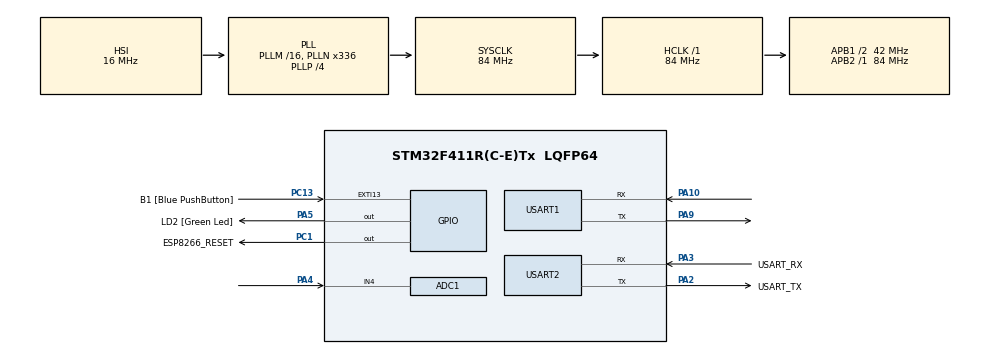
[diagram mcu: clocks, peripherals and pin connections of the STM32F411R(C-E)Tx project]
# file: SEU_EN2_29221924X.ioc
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ADC1.Channel-0\#ChannelRegularConversion=ADC_CHANNEL_4
ADC1.NbrOfConversionFlag=1
ADC1.Rank-0\#ChannelRegularConversion=1
ADC1.SamplingTime-0\#ChannelRegularConversion=ADC_SAMPLETIME_3CYCLES
ADC1.master=1
Dma.Request0=USART1_RX
Dma.Request1=USART1_TX
Dma.USART1_RX.0.Direction=DMA_PERIPH_TO_MEMORY
Dma.USART1_RX.0.FIFOMode=DMA_FIFOMODE_DISABLE
Dma.USART1_RX.0.Instance=DMA2_Stream2
Dma.USART1_RX.0.MemDataAlignment=DMA_MDATAALIGN_BYTE
Dma.USART1_RX.0.MemInc=DMA_MINC_ENABLE
Dma.USART1_RX.0.Mode=DMA_NORMAL
Dma.USART1_RX.0.PeriphDataAlignment=DMA_PDATAALIGN_BYTE
Dma.USART1_RX.0.PeriphInc=DMA_PINC_DISABLE
Dma.USART1_RX.0.Priority=DMA_PRIORITY_LOW
Dma.USART1_TX.1.Direction=DMA_MEMORY_TO_PERIPH
Dma.USART1_TX.1.FIFOMode=DMA_FIFOMODE_DISABLE
Dma.USART1_TX.1.Instance=DMA2_Stream7
Dma.USART1_TX.1.MemDataAlignment=DMA_MDATAALIGN_BYTE
Dma.USART1_TX.1.MemInc=DMA_MINC_ENABLE
Dma.USART1_TX.1.Mode=DMA_NORMAL
Dma.USART1_TX.1.PeriphDataAlignment=DMA_PDATAALIGN_BYTE
Dma.USART1_TX.1.PeriphInc=DMA_PINC_DISABLE
Dma.USART1_TX.1.Priority=DMA_PRIORITY_LOW
FREERTOS.Tasks01=defaultTask,0,128,StartDefaultTask,Default,NULL,Dynamic,NULL,NULL
FREERTOS.configTOTAL_HEAP_SIZE=80000
Mcu.Family=STM32F4
Mcu.Name=STM32F411R(C-E)Tx
Mcu.Package=LQFP64
NVIC.DMA2_Stream2_IRQn=true\:5\:0\:false\:false\:true\:true\:false\:true\:true
NVIC.DMA2_Stream7_IRQn=true\:5\:0\:false\:false\:true\:true\:false\:true\:true
NVIC.PriorityGroup=NVIC_PRIORITYGROUP_4
PA10.Mode=Asynchronous
PA10.Signal=USART1_RX
PA13.GPIO_Label=TMS
PA13.Mode=Serial_Wire
PA13.Signal=SYS_JTMS-SWDIO
PA14.GPIO_Label=TCK
PA14.Mode=Serial_Wire
PA14.Signal=SYS_JTCK-SWCLK
PA2.GPIO_Label=USART_TX
PA2.Mode=Asynchronous
PA2.Signal=USART2_TX
PA3.GPIO_Label=USART_RX
PA3.Mode=Asynchronous
PA3.Signal=USART2_RX
PA4.Signal=ADCx_IN4
PA5.GPIO_Label=LD2 [Green Led]
PA5.Signal=GPIO_Output
PA9.Mode=Asynchronous
PA9.Signal=USART1_TX
PB3.GPIO_Label=SWO
PB3.Signal=SYS_JTDO-SWO
PC1.GPIO_Label=ESP8266_RESET
PC1.Signal=GPIO_Output
PC13-ANTI_TAMP.GPIO_Label=B1 [Blue PushButton]
PC13-ANTI_TAMP.GPIO_ModeDefaultEXTI=GPIO_MODE_IT_FALLING
PC13-ANTI_TAMP.Signal=GPXTI13
PC14-OSC32_IN.Mode=LSE-External-Oscillator
PC14-OSC32_IN.Signal=RCC_OSC32_IN
PC15-OSC32_OUT.Mode=LSE-External-Oscillator
PC15-OSC32_OUT.Signal=RCC_OSC32_OUT
PH0\ -\ OSC_IN.Mode=HSE-External-Clock-Source
PH0\ -\ OSC_IN.Signal=RCC_OSC_IN
PH1\ -\ OSC_OUT.Mode=HSE-External-Clock-Source
PH1\ -\ OSC_OUT.Signal=RCC_OSC_OUT
ProjectManager.HeapSize=0x200
ProjectManager.StackSize=0x400
ProjectManager.TargetToolchain=STM32CubeIDE
RCC.48MHZClocksFreq_Value=84000000
RCC.AHBFreq_Value=84000000
RCC.APB1CLKDivider=RCC_HCLK_DIV2
RCC.APB1Freq_Value=42000000
RCC.APB1TimFreq_Value=84000000
RCC.APB2Freq_Value=84000000
RCC.APB2TimFreq_Value=84000000
RCC.CortexFreq_Value=84000000
RCC.FLatency-AdvancedSettings=FLASH_LATENCY_2
RCC.HCLKFreq_Value=84000000
RCC.HSE_VALUE=8000000
RCC.HSI_VALUE=16000000
RCC.PLLN=336
RCC.PLLP=RCC_PLLP_DIV4
RCC.SYSCLKFreq_VALUE=84000000
RCC.SYSCLKSource=RCC_SYSCLKSOURCE_PLLCLK
RCC.VCOOutputFreq_Value=336000000
SH.ADCx_IN4.0=ADC1_IN4,IN4
USART1.VirtualMode=VM_ASYNC
USART2.VirtualMode=VM_ASYNC
VP_FREERTOS_VS_CMSIS_V1.Mode=CMSIS_V1
board=NUCLEO-F411RE

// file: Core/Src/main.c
/* USER CODE BEGIN Header */
/**
  ******************************************************************************
  * @file           : main.c
  * @brief          : Main program body — Entregable 1
  *                   Paso actual: lectura del potenciómetro por ADC
  ******************************************************************************
  */
/* USER CODE END Header */
#include "main.h"
#include "cmsis_os.h"

/* USER CODE BEGIN Includes */
#include <stdio.h>
#include <math.h>
#include <tareas.h>
/* USER CODE END Includes */

ADC_HandleTypeDef hadc1;

UART_HandleTypeDef huart1;
UART_HandleTypeDef huart2;
DMA_HandleTypeDef hdma_usart1_rx;
DMA_HandleTypeDef hdma_usart1_tx;

osThreadId defaultTaskHandle;
/* USER CODE BEGIN PV */
uint8_t g_sensor_sel = 0;   /* 0 = LDR, 1 = NTC */
uint8_t g_flash_state = 0;  /* estado actual del LED parpadeante (0/1) */
uint32_t g_last_flash_tick = 0;  /* último instante en que cambió el parpadeo */

/* Alarma */
uint8_t  g_alarm_active   = 0;  /* 1 = buzzer sonando           */
uint8_t  g_alarm_disarmed = 0;  /* 1 = silenciada, esperando    */
uint32_t g_disarm_tick    = 0;  /* instante en que se silenció  */
/* USER CODE END PV */

void SystemClock_Config(void);
static void MX_GPIO_Init(void);
static void MX_DMA_Init(void);
static void MX_USART2_UART_Init(void);
static void MX_ADC1_Init(void);
static void MX_USART1_UART_Init(void);
void StartDefaultTask(void const * argument);

/* USER CODE BEGIN 0 */

/**
 * @brief  Redirige printf() a UART2 (serial monitor a 115200 baudios).
 */
int _write(int file, char *ptr, int len)
{
    HAL_UART_Transmit(&huart2, (uint8_t*)ptr, len, HAL_MAX_DELAY);
    return len;
}

/**
 * @brief  Lee el potenciómetro.
 * @return Valor bruto ADC: 0 (GND) a 4095 (3.3V).
 */
uint32_t POT_read(void)
{
    ADC_ChannelConfTypeDef sConfig = {0};
    sConfig.Channel      = ADC_CHANNEL_4;
    sConfig.Rank         = 1;
    sConfig.SamplingTime = ADC_SAMPLETIME_84CYCLES; /* estable con impedancia 10kΩ */

    HAL_ADC_ConfigChannel(&hadc1, &sConfig);
    HAL_ADC_Start(&hadc1);
    HAL_ADC_PollForConversion(&hadc1, 1000);        /* esperar fin de conversión */
    uint32_t val = HAL_ADC_GetValue(&hadc1);
    HAL_ADC_Stop(&hadc1);
    return val;
}

/**
 * @brief  Lee la LDR (PA0 - ADC1_IN0).
 * @return Intensidad lumínica 0-1000 (representa 0.0% a 100.0%).
 *         Calibrar LDR_MIN y LDR_MAX con tu sensor real.
 */
uint32_t LDR_read(void) //Sensor Luz
{
    ADC_ChannelConfTypeDef sConfig = {0};
    sConfig.Channel      = ADC_CHANNEL_0;
    sConfig.Rank         = 1;
    sConfig.SamplingTime = ADC_SAMPLETIME_84CYCLES;
    HAL_ADC_ConfigChannel(&hadc1, &sConfig);
    HAL_ADC_Start(&hadc1);
    HAL_ADC_PollForConversion(&hadc1, 1000);
    uint32_t raw = HAL_ADC_GetValue(&hadc1);
    HAL_ADC_Stop(&hadc1);

    const uint32_t LDR_MIN = 100;
    const uint32_t LDR_MAX = 3900;

    if (raw < LDR_MIN) raw = LDR_MIN;
    if (raw > LDR_MAX) raw = LDR_MAX;

    return ((raw - LDR_MIN) * 1000) / (LDR_MAX - LDR_MIN);  /* 0-1000 */
}

/**
 * @brief  Lee  NTC (PA1 - ADC1_IN1) devuelve temperatura x10. (253 -> 25.3 °C)
 *
 * Fórmula:
 *   R_NTC = -10000 * 3.3 / (raw * 3.3 / 4095 - 3.3) - 10000
 *   T(K)  = 3900 / (ln(R_NTC / 10000) + 3900 / 298.15)
 *   T(°C) = T(K) - 273.15
 */
int32_t NTC_read_x10(void) //Sensor Temperatura
{
    ADC_ChannelConfTypeDef sConfig = {0};
    sConfig.Channel      = ADC_CHANNEL_1;
    sConfig.Rank         = 1;
    sConfig.SamplingTime = ADC_SAMPLETIME_84CYCLES;
    HAL_ADC_ConfigChannel(&hadc1, &sConfig);
    HAL_ADC_Start(&hadc1);
    HAL_ADC_PollForConversion(&hadc1, 1000);
    uint32_t raw = HAL_ADC_GetValue(&hadc1);
    HAL_ADC_Stop(&hadc1);

    /* Protección valores extremos */
    if (raw == 0 || raw >= 4095) return -9999;

    /* Calcular Resistencia NTC*/
    float v    = (float)raw * 3.3f / 4095.0f;
    float rntc = -10000.0f * 3.3f / (v - 3.3f) - 10000.0f;

    if (rntc <= 0.0f) return -9999;

    /* Ecuación Beta */
    float tempK = 3900.0f / (logf(rntc / 10000.0f) + 3900.0f / 298.15f);
    float tempC = tempK - 273.15f;

    return (int32_t)(tempC * 10.0f);  /* x10 para evitar printf float */
}

/**
 * @brief  Escribe un patrón de 8 bits en los LEDs.
 *         bit0 = LED1 (PB4) ... bit7 = LED8 (PA5)
 */
void LED_setAll(uint8_t pattern)
{
    /* GPIOB: LED1(PB4) LED2(PB10) LED4(PB5) LED5(PB3) LED7(PB0) */
    HAL_GPIO_WritePin(GPIOB, GPIO_PIN_4,  (pattern >> 0) & 1 ? GPIO_PIN_SET : GPIO_PIN_RESET);
    HAL_GPIO_WritePin(GPIOB, GPIO_PIN_10, (pattern >> 1) & 1 ? GPIO_PIN_SET : GPIO_PIN_RESET);
    HAL_GPIO_WritePin(GPIOA, GPIO_PIN_8,  (pattern >> 2) & 1 ? GPIO_PIN_SET : GPIO_PIN_RESET);
    HAL_GPIO_WritePin(GPIOB, GPIO_PIN_5,  (pattern >> 3) & 1 ? GPIO_PIN_SET : GPIO_PIN_RESET);
    HAL_GPIO_WritePin(GPIOB, GPIO_PIN_3,  (pattern >> 4) & 1 ? GPIO_PIN_SET : GPIO_PIN_RESET);
    HAL_GPIO_WritePin(GPIOA, GPIO_PIN_6,  (pattern >> 5) & 1 ? GPIO_PIN_SET : GPIO_PIN_RESET);
    HAL_GPIO_WritePin(GPIOB, GPIO_PIN_0,  (pattern >> 6) & 1 ? GPIO_PIN_SET : GPIO_PIN_RESET);
    HAL_GPIO_WritePin(GPIOA, GPIO_PIN_5,  (pattern >> 7) & 1 ? GPIO_PIN_SET : GPIO_PIN_RESET);
}

/**
 * @brief  Bargraph 8 LEDs según valor (bits activos).
 * @param  pct_x10  Valor 0-1000
 *
 *   0   ->  00000000  (todos apagados)
 *   125 ->  00000001  (1 LED)
 *   500 ->  00001111  (4 LEDs)
 *   1000->  11111111  (todos encendidos)
 */
void LED_bargraph(uint32_t pct_x10)
{
    /* Rango LEDs 0-8 */
    uint8_t num = (uint8_t)((pct_x10 * 8) / 1000);
    if (num > 8) num = 8;

    /* Bargraph bits a 1 */
    uint8_t pattern = (num == 8) ? 0xFF : (uint8_t)((1 << num) - 1);

    LED_setAll(pattern);
}
/* USER CODE END 0 */

int main(void)
{

  /* MCU Configuration--------------------------------------------------------*/

  /* Reset of all peripherals, Initializes the Flash interface and the Systick. */
  HAL_Init();

  /* Configure the system clock */
  SystemClock_Config();

  /* Initialize all configured peripherals */
  MX_GPIO_Init();
  MX_DMA_Init();
  MX_USART2_UART_Init();
  MX_ADC1_Init();
  MX_USART1_UART_Init();
  /* USER CODE BEGIN 2 */
  setvbuf(stdout, NULL, _IONBF, 0);  /* sin buffer para que printf salga inmediato */
  printf("Monitor arrancado — %s %s\r\n", __DATE__, __TIME__);
  CONFIGURACION_INICIAL();
  /* USER CODE END 2 */

  /* Create the thread(s) */
  /* definition and creation of defaultTask */
  osThreadDef(defaultTask, StartDefaultTask, osPriorityNormal, 0, 128);
  defaultTaskHandle = osThreadCreate(osThread(defaultTask), NULL);

  /* Start scheduler */
  osKernelStart();

  /* We should never get here as control is now taken by the scheduler */

  /* Infinite loop */
  /* USER CODE BEGIN WHILE */
  while (1)
  {
	  uint32_t now = HAL_GetTick();

	      /* ---- BTN_IZQ: cambiar sensor (PC7) ---- */
	      static uint8_t btn_izq_prev = 0;
	      uint8_t btn_izq = (HAL_GPIO_ReadPin(GPIOC, GPIO_PIN_7) == GPIO_PIN_RESET) ? 1 : 0;
	      if (btn_izq && !btn_izq_prev) {
	          g_sensor_sel ^= 1;
	          printf(">> Sensor: %s\r\n", g_sensor_sel == 0 ? "LDR (luz)" : "NTC (temp)");
	          HAL_Delay(50);
	      }
	      btn_izq_prev = btn_izq;

	      /* BTN_DER: silenciar alarma (PB6) */
	      static uint8_t btn_der_prev = 0;
	      uint8_t btn_der = (HAL_GPIO_ReadPin(GPIOB, GPIO_PIN_6) == GPIO_PIN_RESET) ? 1 : 0;
	      if (btn_der && !btn_der_prev) {
	          if (g_alarm_active) {
	              g_alarm_active   = 0;
	              g_alarm_disarmed = 1;
	              g_disarm_tick    = now;
	              HAL_GPIO_WritePin(GPIOA, GPIO_PIN_7, GPIO_PIN_RESET); /* buzzer OFF */
	              printf(">> Alarma silenciada. Reactivación en 10 s\r\n");
	          }
	          HAL_Delay(50);
	      }
	      btn_der_prev = btn_der;

	      /* Leer sensores  */
	      uint32_t pot_pct  = (POT_read() * 1000) / 4095;
	      uint32_t ldr_pct  = LDR_read();
	      int32_t  temp_x10 = NTC_read_x10();

	      uint32_t ntc_pct = 0;
	      if (temp_x10 > 250) {
	          ntc_pct = ((uint32_t)(temp_x10 - 250) * 1000) / 50;
	          if (ntc_pct > 1000) ntc_pct = 1000;
	      }

	      uint32_t display_pct = (g_sensor_sel == 0) ? ldr_pct : ntc_pct;

	      /* Reacticación 10s  */
	      if (g_alarm_disarmed && (now - g_disarm_tick) >= 10000) {
	          g_alarm_disarmed = 0;
	          printf(">> Alarma preparada.\r\n");
	      }

	      /*  Check nivel de alarma */
	      /*if (!g_alarm_active && !g_alarm_disarmed) {
	          if (display_pct > pot_pct) {
	              g_alarm_active = 1;
	              HAL_GPIO_WritePin(GPIOA, GPIO_PIN_7, GPIO_PIN_SET);  buzzer ON
	              printf("!! ALARMA: sensor=%lu.%lu%% nivel=%lu.%lu%%\r\n",
	                     display_pct / 10, display_pct % 10,
	                     pot_pct / 10, pot_pct % 10);
	          }
	      }*/

	      //Detecta los 2 sensores simultaneamente
	      if (!g_alarm_active && !g_alarm_disarmed) {
	          if (ldr_pct > pot_pct || ntc_pct > pot_pct) {
	              g_alarm_active = 1;
	              HAL_GPIO_WritePin(GPIOA, GPIO_PIN_7, GPIO_PIN_SET);
	              printf("!! ALARMA — LDR: %lu.%lu%% NTC: %lu.%lu%% nivel: %lu.%lu%%\r\n",
	                     ldr_pct/10,  ldr_pct%10,
	                     ntc_pct/10,  ntc_pct%10,
	                     pot_pct/10,  pot_pct%10);
	          }
	      }

	      /* Parpadeo LED de alarma */
	      if ((now - g_last_flash_tick) >= 140) {
	          g_flash_state ^= 1;
	          g_last_flash_tick = now;
	      }

	      /* Bargraph + LED */
	      uint8_t alarm_led = (uint8_t)((pot_pct * 7) / 1000);
	      uint8_t num       = (uint8_t)((display_pct * 8) / 1000);
	      if (num > 8) num = 8;
	      uint8_t pattern = (num == 8) ? 0xFF : (uint8_t)((1 << num) - 1);

	      if (g_flash_state)
	          pattern |=  (1 << alarm_led);
	      else
	          pattern &= ~(1 << alarm_led);

	      LED_setAll(pattern);

	      /*if (g_sensor_sel == 0) {
	          printf("POT: %lu.%lu%%  |  LDR: %lu.%lu%%  |  Alarma: %s\r\n",
	                 pot_pct / 10, pot_pct % 10,
	                 display_pct / 10, display_pct % 10,
	                 g_alarm_active ? "ACTIVA" : (g_alarm_disarmed ? "SILENCIADA" : "Preparada"));
	      } else {
	          printf("POT: %lu.%lu%%  |  NTC: %ld.%ld C  |  Alarma: %s\r\n",
	                 pot_pct / 10, pot_pct % 10,
	                 temp_x10 / 10, (temp_x10 < 0 ? -temp_x10 : temp_x10) % 10,
	                 g_alarm_active ? "ACTIVA" : (g_alarm_disarmed ? "SILENCIADA" : "Preparada"));
	      }*/

	      printf("POT: %lu.%lu%%  |  LDR: %lu.%lu%%  |  NTC: %ld.%ld C  |  Alarma: %s\r\n",
	             pot_pct/10, pot_pct%10,
	             ldr_pct/10, ldr_pct%10,
	             temp_x10/10, (temp_x10 < 0 ? -temp_x10 : temp_x10) % 10,
	             g_alarm_active ? "ACTIVA" : (g_alarm_disarmed ? "SILENCIADA" : "Preparada"));

	      HAL_Delay(500);

    /* USER CODE END WHILE */

  }
}

void SystemClock_Config(void)
{
  RCC_OscInitTypeDef RCC_OscInitStruct = {0};
  RCC_ClkInitTypeDef RCC_ClkInitStruct = {0};

  /** Configure the main internal regulator output voltage
  */
  __HAL_RCC_PWR_CLK_ENABLE();
  __HAL_PWR_VOLTAGESCALING_CONFIG(PWR_REGULATOR_VOLTAGE_SCALE1);

  /** Initializes the RCC Oscillators according to the specified parameters
  * in the RCC_OscInitTypeDef structure.
  */
  RCC_OscInitStruct.OscillatorType = RCC_OSCILLATORTYPE_HSI;
  RCC_OscInitStruct.HSIState = RCC_HSI_ON;
  RCC_OscInitStruct.HSICalibrationValue = RCC_HSICALIBRATION_DEFAULT;
  RCC_OscInitStruct.PLL.PLLState = RCC_PLL_ON;
  RCC_OscInitStruct.PLL.PLLSource = RCC_PLLSOURCE_HSI;
  RCC_OscInitStruct.PLL.PLLM = 16;
  RCC_OscInitStruct.PLL.PLLN = 336;
  RCC_OscInitStruct.PLL.PLLP = RCC_PLLP_DIV4;
  RCC_OscInitStruct.PLL.PLLQ = 4;
  if (HAL_RCC_OscConfig(&RCC_OscInitStruct) != HAL_OK)
  {
    Error_Handler();
  }

  /** Initializes the CPU, AHB and APB buses clocks
  */
  RCC_ClkInitStruct.ClockType = RCC_CLOCKTYPE_HCLK|RCC_CLOCKTYPE_SYSCLK
                              |RCC_CLOCKTYPE_PCLK1|RCC_CLOCKTYPE_PCLK2;
  RCC_ClkInitStruct.SYSCLKSource = RCC_SYSCLKSOURCE_PLLCLK;
  RCC_ClkInitStruct.AHBCLKDivider = RCC_SYSCLK_DIV1;
  RCC_ClkInitStruct.APB1CLKDivider = RCC_HCLK_DIV2;
  RCC_ClkInitStruct.APB2CLKDivider = RCC_HCLK_DIV1;

  if (HAL_RCC_ClockConfig(&RCC_ClkInitStruct, FLASH_LATENCY_2) != HAL_OK)
  {
    Error_Handler();
  }
}

static void MX_ADC1_Init(void)
{

  ADC_ChannelConfTypeDef sConfig = {0};

  /** Configure the global features of the ADC (Clock, Resolution, Data Alignment and number of conversion)
  */
  hadc1.Instance = ADC1;
  hadc1.Init.ClockPrescaler = ADC_CLOCK_SYNC_PCLK_DIV4;
  hadc1.Init.Resolution = ADC_RESOLUTION_12B;
  hadc1.Init.ScanConvMode = DISABLE;
  hadc1.Init.ContinuousConvMode = DISABLE;
  hadc1.Init.DiscontinuousConvMode = DISABLE;
  hadc1.Init.ExternalTrigConvEdge = ADC_EXTERNALTRIGCONVEDGE_NONE;
  hadc1.Init.ExternalTrigConv = ADC_SOFTWARE_START;
  hadc1.Init.DataAlign = ADC_DATAALIGN_RIGHT;
  hadc1.Init.NbrOfConversion = 1;
  hadc1.Init.DMAContinuousRequests = DISABLE;
  hadc1.Init.EOCSelection = ADC_EOC_SINGLE_CONV;
  if (HAL_ADC_Init(&hadc1) != HAL_OK)
  {
    Error_Handler();
  }

  /** Configure for the selected ADC regular channel its corresponding rank in the sequencer and its sample time.
  */
  sConfig.Channel = ADC_CHANNEL_4;
  sConfig.Rank = 1;
  sConfig.SamplingTime = ADC_SAMPLETIME_3CYCLES;
  if (HAL_ADC_ConfigChannel(&hadc1, &sConfig) != HAL_OK)
  {
    Error_Handler();
  }

}

static void MX_USART1_UART_Init(void)
{

  huart1.Instance = USART1;
  huart1.Init.BaudRate = 115200;
  huart1.Init.WordLength = UART_WORDLENGTH_8B;
  huart1.Init.StopBits = UART_STOPBITS_1;
  huart1.Init.Parity = UART_PARITY_NONE;
  huart1.Init.Mode = UART_MODE_TX_RX;
  huart1.Init.HwFlowCtl = UART_HWCONTROL_NONE;
  huart1.Init.OverSampling = UART_OVERSAMPLING_16;
  if (HAL_UART_Init(&huart1) != HAL_OK)
  {
    Error_Handler();
  }

}

static void MX_USART2_UART_Init(void)
{

  huart2.Instance = USART2;
  huart2.Init.BaudRate = 115200;
  huart2.Init.WordLength = UART_WORDLENGTH_8B;
  huart2.Init.StopBits = UART_STOPBITS_1;
  huart2.Init.Parity = UART_PARITY_NONE;
  huart2.Init.Mode = UART_MODE_TX_RX;
  huart2.Init.HwFlowCtl = UART_HWCONTROL_NONE;
  huart2.Init.OverSampling = UART_OVERSAMPLING_16;
  if (HAL_UART_Init(&huart2) != HAL_OK)
  {
    Error_Handler();
  }

}

static void MX_DMA_Init(void)
{

  /* DMA controller clock enable */
  __HAL_RCC_DMA2_CLK_ENABLE();

  /* DMA interrupt init */
  /* DMA2_Stream2_IRQn interrupt configuration */
  HAL_NVIC_SetPriority(DMA2_Stream2_IRQn, 5, 0);
  HAL_NVIC_EnableIRQ(DMA2_Stream2_IRQn);
  /* DMA2_Stream7_IRQn interrupt configuration */
  HAL_NVIC_SetPriority(DMA2_Stream7_IRQn, 5, 0);
  HAL_NVIC_EnableIRQ(DMA2_Stream7_IRQn);

}

static void MX_GPIO_Init(void)
{
  GPIO_InitTypeDef GPIO_InitStruct = {0};

  /* GPIO Ports Clock Enable */
  __HAL_RCC_GPIOC_CLK_ENABLE();
  __HAL_RCC_GPIOH_CLK_ENABLE();
  __HAL_RCC_GPIOA_CLK_ENABLE();
  __HAL_RCC_GPIOB_CLK_ENABLE();

  /*Configure GPIO pin Output Level */
  HAL_GPIO_WritePin(ESP8266_RESET_GPIO_Port, ESP8266_RESET_Pin, GPIO_PIN_RESET);

  /*Configure GPIO pin Output Level */
  HAL_GPIO_WritePin(LD2_GPIO_Port, LD2_Pin, GPIO_PIN_RESET);

  /*Configure GPIO pin : B1_Pin */
  GPIO_InitStruct.Pin = B1_Pin;
  GPIO_InitStruct.Mode = GPIO_MODE_IT_FALLING;
  GPIO_InitStruct.Pull = GPIO_NOPULL;
  HAL_GPIO_Init(B1_GPIO_Port, &GPIO_InitStruct);

  /*Configure GPIO pin : ESP8266_RESET_Pin */
  GPIO_InitStruct.Pin = ESP8266_RESET_Pin;
  GPIO_InitStruct.Mode = GPIO_MODE_OUTPUT_PP;
  GPIO_InitStruct.Pull = GPIO_NOPULL;
  GPIO_InitStruct.Speed = GPIO_SPEED_FREQ_LOW;
  HAL_GPIO_Init(ESP8266_RESET_GPIO_Port, &GPIO_InitStruct);

  /*Configure GPIO pin : LD2_Pin */
  GPIO_InitStruct.Pin = LD2_Pin;
  GPIO_InitStruct.Mode = GPIO_MODE_OUTPUT_PP;
  GPIO_InitStruct.Pull = GPIO_NOPULL;
  GPIO_InitStruct.Speed = GPIO_SPEED_FREQ_LOW;
  HAL_GPIO_Init(LD2_GPIO_Port, &GPIO_InitStruct);

  /* USER CODE BEGIN MX_GPIO_Init_2 */

  /* Botones */
  GPIO_InitStruct.Mode = GPIO_MODE_INPUT;
  GPIO_InitStruct.Pull = GPIO_PULLUP;

  GPIO_InitStruct.Pin = GPIO_PIN_7;           /* BTN_IZQ — PC7 (D9)  */
  HAL_GPIO_Init(GPIOC, &GPIO_InitStruct);

  GPIO_InitStruct.Pin = GPIO_PIN_6;           /* BTN_DER — PB6 (D10) */
  HAL_GPIO_Init(GPIOB, &GPIO_InitStruct);

  /* LEDs shield  */
  GPIO_InitStruct.Mode  = GPIO_MODE_OUTPUT_PP;
  GPIO_InitStruct.Pull  = GPIO_NOPULL;
  GPIO_InitStruct.Speed = GPIO_SPEED_FREQ_LOW;

  /* GPIOB: LED1(PB4) LED2(PB10) LED4(PB5) LED5(PB3) LED7(PB0) */
  GPIO_InitStruct.Pin = GPIO_PIN_4 | GPIO_PIN_10 | GPIO_PIN_5
                      | GPIO_PIN_3 | GPIO_PIN_0;
  HAL_GPIO_Init(GPIOB, &GPIO_InitStruct);

  /* GPIOA: LED3(PA8) LED6(PA6) LED8(PA5) */
  GPIO_InitStruct.Pin = GPIO_PIN_8 | GPIO_PIN_6 | GPIO_PIN_5;
  HAL_GPIO_Init(GPIOA, &GPIO_InitStruct);

  /* ---- Buzzer PA7 (Output Push-Pull) ---- */
  GPIO_InitStruct.Pin = GPIO_PIN_7;
  HAL_GPIO_Init(GPIOA, &GPIO_InitStruct);

  /* Estado inicial: LEDs y buzzer apagados */
  HAL_GPIO_WritePin(GPIOB,
      GPIO_PIN_4 | GPIO_PIN_10 | GPIO_PIN_5 | GPIO_PIN_3 | GPIO_PIN_0,
      GPIO_PIN_RESET);
  HAL_GPIO_WritePin(GPIOA,
      GPIO_PIN_8 | GPIO_PIN_6 | GPIO_PIN_5 | GPIO_PIN_7,
      GPIO_PIN_RESET);

  /* LDR PA0 (A0) y NTC PA1 (A1)  modo analógico ADC */
  GPIO_InitStruct.Pin  = GPIO_PIN_0 | GPIO_PIN_1;
  GPIO_InitStruct.Mode = GPIO_MODE_ANALOG;
  GPIO_InitStruct.Pull = GPIO_NOPULL;
  HAL_GPIO_Init(GPIOA, &GPIO_InitStruct);
  /* USER CODE END MX_GPIO_Init_2 */
}

void StartDefaultTask(void const * argument)
{
  for(;;)
  {
    osDelay(1);
  }
}

void Error_Handler(void)
{
  __disable_irq();
  while (1) {}
}
